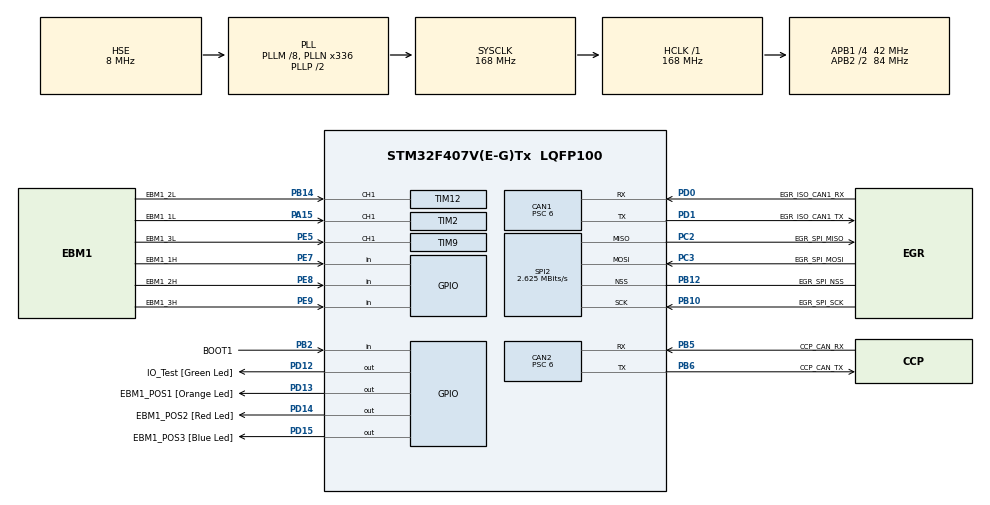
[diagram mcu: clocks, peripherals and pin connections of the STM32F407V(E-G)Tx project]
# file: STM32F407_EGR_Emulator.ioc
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CAN1.ABOM=ENABLE
CAN1.BS1=CAN_BS1_6TQ
CAN1.BS2=CAN_BS2_7TQ
CAN1.CalculateTimeBit=2000
CAN1.CalculateTimeQuantum=142.85714285714286
CAN1.Prescaler=6
CAN1.SJW=CAN_SJW_2TQ
CAN2.ABOM=ENABLE
CAN2.BS1=CAN_BS1_6TQ
CAN2.BS2=CAN_BS2_7TQ
CAN2.CalculateTimeBit=2000
CAN2.CalculateTimeQuantum=142.85714285714286
CAN2.Prescaler=6
CAN2.SJW=CAN_SJW_2TQ
Dma.Request0=SPI2_RX
Dma.Request1=SPI2_TX
Dma.SPI2_RX.0.Channel=DMA_CHANNEL_0
Dma.SPI2_RX.0.Direction=DMA_PERIPH_TO_MEMORY
Dma.SPI2_RX.0.FIFOMode=DMA_FIFOMODE_DISABLE
Dma.SPI2_RX.0.Instance=DMA1_Stream3
Dma.SPI2_RX.0.MemDataAlignment=DMA_MDATAALIGN_HALFWORD
Dma.SPI2_RX.0.MemInc=DMA_MINC_DISABLE
Dma.SPI2_RX.0.Mode=DMA_CIRCULAR
Dma.SPI2_RX.0.PeriphDataAlignment=DMA_PDATAALIGN_HALFWORD
Dma.SPI2_RX.0.PeriphInc=DMA_PINC_DISABLE
Dma.SPI2_RX.0.Priority=DMA_PRIORITY_LOW
Dma.SPI2_TX.1.Channel=DMA_CHANNEL_0
Dma.SPI2_TX.1.Direction=DMA_MEMORY_TO_PERIPH
Dma.SPI2_TX.1.FIFOMode=DMA_FIFOMODE_DISABLE
Dma.SPI2_TX.1.Instance=DMA1_Stream4
Dma.SPI2_TX.1.MemDataAlignment=DMA_MDATAALIGN_HALFWORD
Dma.SPI2_TX.1.MemInc=DMA_MINC_DISABLE
Dma.SPI2_TX.1.Mode=DMA_CIRCULAR
Dma.SPI2_TX.1.PeriphDataAlignment=DMA_PDATAALIGN_HALFWORD
Dma.SPI2_TX.1.PeriphInc=DMA_PINC_DISABLE
Dma.SPI2_TX.1.Priority=DMA_PRIORITY_LOW
Mcu.Family=STM32F4
Mcu.Name=STM32F407V(E-G)Tx
Mcu.Package=LQFP100
NVIC.CAN1_RX0_IRQn=true\:1\:2\:true
NVIC.CAN2_RX0_IRQn=true\:1\:3\:true
NVIC.DMA1_Stream3_IRQn=true\:1\:5\:true
NVIC.DMA1_Stream4_IRQn=true\:1\:6\:true
NVIC.PriorityGroup=NVIC_PRIORITYGROUP_1
NVIC.TIM1_BRK_TIM9_IRQn=true\:0\:7\:false
NVIC.TIM2_IRQn=true\:0\:5\:false
NVIC.TIM6_DAC_IRQn=true\:1\:0\:true
NVIC.TIM8_BRK_TIM12_IRQn=true\:0\:6\:false
PA13.GPIO_Label=SWDIO
PA13.Mode=Trace-Asynchronous_SW
PA13.Signal=SYS_JTMS-SWDIO
PA14.GPIO_Label=SWCLK
PA14.Mode=Trace-Asynchronous_SW
PA14.Signal=SYS_JTCK-SWCLK
PA15.GPIO_Label=EBM1_1L
PA15.GPIO_ModeDefaultPP=GPIO_MODE_AF_PP
PA15.GPIO_PuPd=GPIO_NOPULL
PA15.GPIO_Speed=GPIO_SPEED_LOW
PA15.Signal=S_TIM2_CH1_ETR
PB10.GPIO_Label=EGR_SPI_SCK
PB10.GPIO_Mode=GPIO_MODE_AF_PP
PB10.GPIO_PuPd=GPIO_PULLDOWN
PB10.GPIO_Speed=GPIO_SPEED_LOW
PB10.Mode=Full_Duplex_Slave
PB10.Signal=SPI2_SCK
PB12.GPIO_Label=EGR_SPI_NSS
PB12.GPIO_Mode=GPIO_MODE_AF_PP
PB12.GPIO_PuPd=GPIO_NOPULL
PB12.GPIO_Speed=GPIO_SPEED_LOW
PB12.Mode=NSS_Signal_Hard
PB12.Signal=SPI2_NSS
PB14.GPIO_Label=EBM1_2L
PB14.GPIO_ModeDefaultPP=GPIO_MODE_AF_PP
PB14.GPIO_PuPd=GPIO_NOPULL
PB14.GPIO_Speed=GPIO_SPEED_LOW
PB14.Signal=S_TIM12_CH1
PB2.GPIO_Label=BOOT1
PB2.GPIO_Mode=GPIO_MODE_INPUT
PB2.GPIO_PuPd=GPIO_NOPULL
PB2.Signal=GPIO_Input
PB3.GPIO_Label=SWO
PB3.Mode=Trace-Asynchronous_SW
PB3.Signal=SYS_JTDO-SWO
PB5.GPIO_Label=CCP_CAN_RX
PB5.GPIO_Mode=GPIO_MODE_AF_PP
PB5.GPIO_PuPd=GPIO_PULLUP
PB5.GPIO_Speed=GPIO_SPEED_LOW
PB5.Mode=Slave
PB5.Signal=CAN2_RX
PB6.GPIO_Label=CCP_CAN_TX
PB6.GPIO_Mode=GPIO_MODE_AF_PP
PB6.GPIO_PuPd=GPIO_PULLUP
PB6.GPIO_Speed=GPIO_SPEED_LOW
PB6.Mode=Slave
PB6.Signal=CAN2_TX
PC2.GPIO_Label=EGR_SPI_MISO
PC2.GPIO_Mode=GPIO_MODE_AF_PP
PC2.GPIO_PuPd=GPIO_PULLDOWN
PC2.GPIO_Speed=GPIO_SPEED_LOW
PC2.Mode=Full_Duplex_Slave
PC2.Signal=SPI2_MISO
PC3.GPIO_Label=EGR_SPI_MOSI
PC3.GPIO_Mode=GPIO_MODE_AF_PP
PC3.GPIO_PuPd=GPIO_PULLDOWN
PC3.GPIO_Speed=GPIO_SPEED_LOW
PC3.Mode=Full_Duplex_Slave
PC3.Signal=SPI2_MOSI
PD0.GPIO_Label=EGR_ISO_CAN1_RX
PD0.GPIO_Mode=GPIO_MODE_AF_PP
PD0.GPIO_PuPd=GPIO_PULLUP
PD0.GPIO_Speed=GPIO_SPEED_LOW
PD0.Mode=Master
PD0.Signal=CAN1_RX
PD1.GPIO_Label=EGR_ISO_CAN1_TX
PD1.GPIO_Mode=GPIO_MODE_AF_PP
PD1.GPIO_PuPd=GPIO_PULLUP
PD1.GPIO_Speed=GPIO_SPEED_LOW
PD1.Mode=Master
PD1.Signal=CAN1_TX
PD12.GPIO_Label=IO_Test [Green Led]
PD12.GPIO_ModeDefaultOutputPP=GPIO_MODE_OUTPUT_PP
PD12.GPIO_PuPd=GPIO_NOPULL
PD12.GPIO_Speed=GPIO_SPEED_LOW
PD12.Signal=GPIO_Output
PD13.GPIO_Label=EBM1_POS1 [Orange Led]
PD13.GPIO_ModeDefaultOutputPP=GPIO_MODE_OUTPUT_PP
PD13.GPIO_PuPd=GPIO_NOPULL
PD13.GPIO_Speed=GPIO_SPEED_LOW
PD13.Signal=GPIO_Output
PD14.GPIO_Label=EBM1_POS2 [Red Led]
PD14.GPIO_ModeDefaultOutputPP=GPIO_MODE_OUTPUT_PP
PD14.GPIO_PuPd=GPIO_NOPULL
PD14.GPIO_Speed=GPIO_SPEED_LOW
PD14.Signal=GPIO_Output
PD15.GPIO_Label=EBM1_POS3 [Blue Led]
PD15.GPIO_ModeDefaultOutputPP=GPIO_MODE_OUTPUT_PP
PD15.GPIO_PuPd=GPIO_NOPULL
PD15.GPIO_Speed=GPIO_SPEED_LOW
PD15.Signal=GPIO_Output
PE5.GPIO_Label=EBM1_3L
PE5.GPIO_ModeDefaultPP=GPIO_MODE_AF_PP
PE5.GPIO_PuPd=GPIO_NOPULL
PE5.GPIO_Speed=GPIO_SPEED_LOW
PE5.Signal=S_TIM9_CH1
PE7.GPIO_Label=EBM1_1H
PE7.GPIO_Mode=GPIO_MODE_INPUT
PE7.GPIO_PuPd=GPIO_PULLDOWN
PE7.Signal=GPIO_Input
PE8.GPIO_Label=EBM1_2H
PE8.GPIO_Mode=GPIO_MODE_INPUT
PE8.GPIO_PuPd=GPIO_PULLDOWN
PE8.Signal=GPIO_Input
PE9.GPIO_Label=EBM1_3H
PE9.GPIO_Mode=GPIO_MODE_INPUT
PE9.GPIO_PuPd=GPIO_PULLDOWN
PE9.Signal=GPIO_Input
PH0-OSC_IN.GPIO_Label=PH0-OSC_IN
PH0-OSC_IN.Mode=HSE-External-Oscillator
PH0-OSC_IN.Signal=RCC_OSC_IN
PH1-OSC_OUT.GPIO_Label=PH1-OSC_OUT
PH1-OSC_OUT.Mode=HSE-External-Oscillator
PH1-OSC_OUT.Signal=RCC_OSC_OUT
ProjectManager.TargetToolchain=MDK-ARM V5
RCC.48MHZClocksFreq_Value=48000000
RCC.AHBFreq_Value=168000000
RCC.APB1CLKDivider=RCC_HCLK_DIV4
RCC.APB1Freq_Value=42000000
RCC.APB1TimFreq_Value=84000000
RCC.APB2CLKDivider=RCC_HCLK_DIV2
RCC.APB2Freq_Value=84000000
RCC.APB2TimFreq_Value=168000000
RCC.CortexFreq_Value=21000000
RCC.HCLKFreq_Value=168000000
RCC.HSE_VALUE=8000000
RCC.HSI_VALUE=16000000
RCC.LSE_VALUE=32768
RCC.PLLM=8
RCC.PLLN=336
RCC.PLLQ=7
RCC.PLLSource=RCC_PLLSOURCE_HSE
RCC.PLLSourceVirtual=RCC_PLLSOURCE_HSE
RCC.SYSCLKFreq_VALUE=168000000
RCC.SYSCLKSource=RCC_SYSCLKSOURCE_PLLCLK
RCC.VCOOutputFreq_Value=336000000
SH.S_TIM12_CH1.0=TIM12_CH1,TriggerSource_TI1FP1
SH.S_TIM12_CH1.1=TIM12_CH1,Input_Capture1_from_TI1
SH.S_TIM12_CH1.2=TIM12_CH1,Input_Capture2_from_TI1
SH.S_TIM2_CH1_ETR.0=TIM2_CH1,TriggerSource_TI1FP1
SH.S_TIM2_CH1_ETR.1=TIM2_CH1,Input_Capture1_from_TI1
SH.S_TIM2_CH1_ETR.2=TIM2_CH1,Input_Capture2_from_TI1
SH.S_TIM9_CH1.0=TIM9_CH1,TriggerSource_TI1FP1
SH.S_TIM9_CH1.1=TIM9_CH1,Input_Capture1_from_TI1
SH.S_TIM9_CH1.2=TIM9_CH1,Input_Capture2_from_TI1
SPI2.BaudRatePrescaler=SPI_BAUDRATEPRESCALER_16
SPI2.CLKPhase=SPI_PHASE_1EDGE
SPI2.CLKPolarity=SPI_POLARITY_HIGH
SPI2.CalculateBaudRate=2.625 MBits/s
SPI2.DataSize=SPI_DATASIZE_16BIT
SPI2.NSS-Full_Duplex_Slave=SPI_NSS_SOFT
SPI2.VirtualNSS=VM_NSSHARD
SPI2.VirtualType=VM_SLAVE
TIM12.Channel-Input_Capture2_from_TI1=TIM_CHANNEL_2
TIM12.ICPolarity_CH2=TIM_INPUTCHANNELPOLARITY_FALLING
TIM12.Period=0xFFFF
TIM12.Prescaler=42
TIM2.Channel-Input_Capture2_from_TI1=TIM_CHANNEL_2
TIM2.ICPolarity_CH2=TIM_INPUTCHANNELPOLARITY_FALLING
TIM2.Period=0xFFFF
TIM2.Prescaler=42
TIM6.Period=100
TIM6.Prescaler=84
TIM9.Channel-Input_Capture2_from_TI1=TIM_CHANNEL_2
TIM9.ICPolarity_CH2=TIM_INPUTCHANNELPOLARITY_FALLING
TIM9.Period=0xFFFF
TIM9.Prescaler=84
VP_TIM12_VS_ClockSourceINT.Mode=Internal
VP_TIM12_VS_ControllerModeReset.Mode=Reset Mode
VP_TIM2_VS_ClockSourceINT.Mode=Internal
VP_TIM2_VS_ControllerModeReset.Mode=Reset Mode
VP_TIM6_VS_ClockSourceINT.Mode=Enable_Timer
VP_TIM9_VS_ClockSourceINT.Mode=Internal
VP_TIM9_VS_ControllerModeReset.Mode=Reset Mode

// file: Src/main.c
/**
  ******************************************************************************
  * File Name          : main.c
  * Date               : 30/10/2015 09:49:42
  * Description        : Main program body
  ******************************************************************************
  *
  * COPYRIGHT(c) 2015 STMicroelectronics
  *
  * Redistribution and use in source and binary forms, with or without modification,
  * are permitted provided that the following conditions are met:
  *   1. Redistributions of source code must retain the above copyright notice,
  *      this list of conditions and the following disclaimer.
  *   2. Redistributions in binary form must reproduce the above copyright notice,
  *      this list of conditions and the following disclaimer in the documentation
  *      and/or other materials provided with the distribution.
  *   3. Neither the name of STMicroelectronics nor the names of its contributors
  *      may be used to endorse or promote products derived from this software
  *      without specific prior written permission.
  *
  * THIS SOFTWARE IS PROVIDED BY THE COPYRIGHT HOLDERS AND CONTRIBUTORS "AS IS"
  * AND ANY EXPRESS OR IMPLIED WARRANTIES, INCLUDING, BUT NOT LIMITED TO, THE
  * IMPLIED WARRANTIES OF MERCHANTABILITY AND FITNESS FOR A PARTICULAR PURPOSE ARE
  * DISCLAIMED. IN NO EVENT SHALL THE COPYRIGHT HOLDER OR CONTRIBUTORS BE LIABLE
  * FOR ANY DIRECT, INDIRECT, INCIDENTAL, SPECIAL, EXEMPLARY, OR CONSEQUENTIAL
  * DAMAGES (INCLUDING, BUT NOT LIMITED TO, PROCUREMENT OF SUBSTITUTE GOODS OR
  * SERVICES; LOSS OF USE, DATA, OR PROFITS; OR BUSINESS INTERRUPTION) HOWEVER
  * CAUSED AND ON ANY THEORY OF LIABILITY, WHETHER IN CONTRACT, STRICT LIABILITY,
  * OR TORT (INCLUDING NEGLIGENCE OR OTHERWISE) ARISING IN ANY WAY OUT OF THE USE
  * OF THIS SOFTWARE, EVEN IF ADVISED OF THE POSSIBILITY OF SUCH DAMAGE.
  *
  ******************************************************************************
  */

#include "stm32f4xx_hal.h"
#include "can.h"
#include "dma.h"
#include "spi.h"
#include "tim.h"
#include "gpio.h"

/* USER CODE BEGIN Includes */
#include "EGR_BLL_Interface.h"
#include "CCP_CAN_Interface.h"
#include "Task_Scheduler.h"
/* USER CODE END Includes */

void SystemClock_Config(void);

/* USER CODE BEGIN PFP */
void MX_HAL_MSP_Start(void);
/* USER CODE END PFP */

int main(void)
{

  /* MCU Configuration----------------------------------------------------------*/

  /* Reset of all peripherals, Initializes the Flash interface and the Systick. */
  HAL_Init();

  /* Configure the system clock */
  SystemClock_Config();

  /* Initialize all configured peripherals */
  MX_GPIO_Init();
  MX_DMA_Init();
  MX_CAN1_Init();
  MX_CAN2_Init();
  MX_SPI2_Init();
  MX_TIM2_Init();
  MX_TIM6_Init();
  MX_TIM9_Init();
  MX_TIM12_Init();

  /* USER CODE BEGIN 2 */
	/* EGR Model Initialize */
	rt_InitConfig();
	/* Initialize CCP Driver */
	ccpBootInit(CAN1, CCP_CRO_ID, CCP_DTO_ID);
	ccpInit();

	MX_HAL_MSP_Start();
  /* USER CODE END 2 */

  /* Infinite loop */
  /* USER CODE BEGIN WHILE */
  while (1)
  {
		Task_Scheduler();
  /* USER CODE END WHILE */

  }

}

/** System Clock Configuration
*/
void SystemClock_Config(void)
{

  RCC_OscInitTypeDef RCC_OscInitStruct;
  RCC_ClkInitTypeDef RCC_ClkInitStruct;

  __PWR_CLK_ENABLE();

  __HAL_PWR_VOLTAGESCALING_CONFIG(PWR_REGULATOR_VOLTAGE_SCALE1);

  RCC_OscInitStruct.OscillatorType = RCC_OSCILLATORTYPE_HSE;
  RCC_OscInitStruct.HSEState = RCC_HSE_ON;
  RCC_OscInitStruct.PLL.PLLState = RCC_PLL_ON;
  RCC_OscInitStruct.PLL.PLLSource = RCC_PLLSOURCE_HSE;
  RCC_OscInitStruct.PLL.PLLM = 8;
  RCC_OscInitStruct.PLL.PLLN = 336;
  RCC_OscInitStruct.PLL.PLLP = RCC_PLLP_DIV2;
  RCC_OscInitStruct.PLL.PLLQ = 7;
  HAL_RCC_OscConfig(&RCC_OscInitStruct);

  RCC_ClkInitStruct.ClockType = RCC_CLOCKTYPE_SYSCLK|RCC_CLOCKTYPE_PCLK1
                              |RCC_CLOCKTYPE_PCLK2;
  RCC_ClkInitStruct.SYSCLKSource = RCC_SYSCLKSOURCE_PLLCLK;
  RCC_ClkInitStruct.AHBCLKDivider = RCC_SYSCLK_DIV1;
  RCC_ClkInitStruct.APB1CLKDivider = RCC_HCLK_DIV4;
  RCC_ClkInitStruct.APB2CLKDivider = RCC_HCLK_DIV2;
  HAL_RCC_ClockConfig(&RCC_ClkInitStruct, FLASH_LATENCY_5);

}

/* USER CODE BEGIN 4 */

/* Starts all configured peripherals */
void MX_HAL_MSP_Start(void)
{
	HAL_TIM_Base_Start_IT(&htim6);

	HAL_TIM_Base_Start_IT(&htim2);
	HAL_TIM_IC_Start_IT(&htim2, TIM_CHANNEL_1);
	HAL_TIM_IC_Start_IT(&htim2, TIM_CHANNEL_2);

	HAL_TIM_Base_Start_IT(&htim9);
	HAL_TIM_IC_Start_IT(&htim9, TIM_CHANNEL_1);
	HAL_TIM_IC_Start_IT(&htim9, TIM_CHANNEL_2);

	HAL_TIM_Base_Start_IT(&htim12);
	HAL_TIM_IC_Start_IT(&htim12, TIM_CHANNEL_1);
	HAL_TIM_IC_Start_IT(&htim12, TIM_CHANNEL_2);

	//HAL_TIM_OC_Start(&htim10, TIM_CHANNEL_1);
	HAL_CAN_Receive_IT(&EGR_CAN_HANDLE, CAN_FIFO0);
	HAL_CAN_Receive_IT(&CCP_CAN_HANDLE, CAN_FIFO0);
}
/* USER CODE END 4 */

/************************ (C) COPYRIGHT STMicroelectronics *****END OF FILE****/
